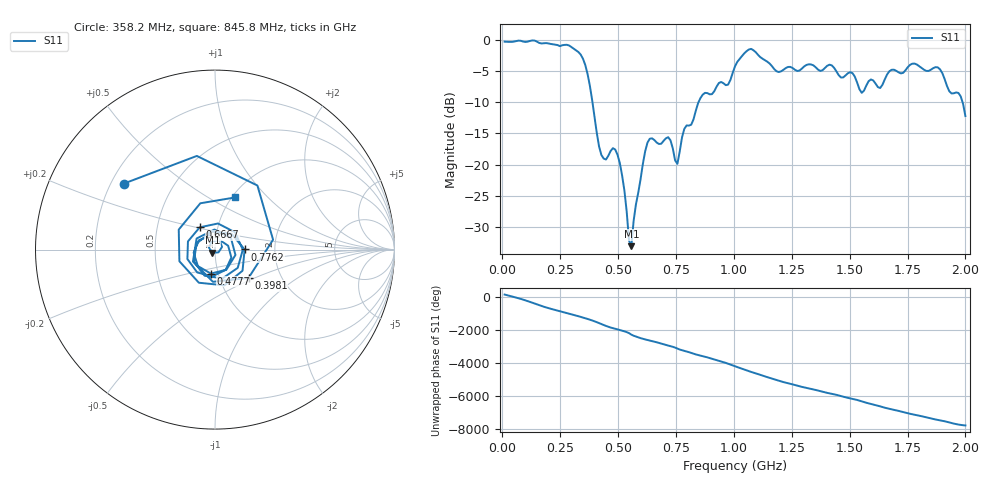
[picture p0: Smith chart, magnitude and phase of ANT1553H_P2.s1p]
!Created with skrf (http://scikit-rf.org).
# Hz S RI R 50.0
!freq ReS11 ImS11
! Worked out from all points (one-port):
!   201 points, 10 MHz to 2 GHz, reference 50 ohm
!   lowest |S11| = -33.0 dB at 557.2 MHz (marker M1), VSWR 1.05, Z = 48.5 - j1.64 ohm
!   |S11| at or under -10 dB: 389.4 MHz to 847.5 MHz (458.1 MHz wide, 74.1 % of centre); 1.988 GHz to end of sweep
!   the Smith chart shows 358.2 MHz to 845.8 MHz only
!   S11 on the Smith chart (normalised r, x): 358.2 MHz: 0.25, +0.31; 398.1 MHz: 1.37, -0.46; 477.6 MHz: 0.92, -0.25; 666.7 MHz: 0.82, +0.21; 776.1 MHz: 1.40, +0.00; 845.8 MHz: 1.03, +0.67
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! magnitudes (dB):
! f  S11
! 10 MHz  -0.3
! 258.8 MHz  -0.9
! 358.2 MHz  -4.1
! 398.1 MHz  -12.2
! 427.9 MHz  -18.4
! 477.6 MHz  -17.4
! 507.5 MHz  -19.7
! 527.4 MHz  -24.1
! 547.3 MHz  -32.1
! 557.2 MHz  -33.0
! 577.1 MHz  -26.3
! 617 MHz  -17.9
! 666.7 MHz  -16.5
! 716.5 MHz  -15.6
! 756.2 MHz  -19.9
! 776.1 MHz  -15.6
! 845.8 MHz  -10.1
! 975.1 MHz  -7.2
! 1.005 GHz  -4.3
! 1.075 GHz  -1.5
! 1.184 GHz  -5.1
! 1.254 GHz  -4.5
! 1.502 GHz  -5.2
! 1.552 GHz  -8.5
! 1.751 GHz  -4.4
! 1.881 GHz  -4.4
! 1.98 GHz  -9.1
! 2 GHz  -12.2
